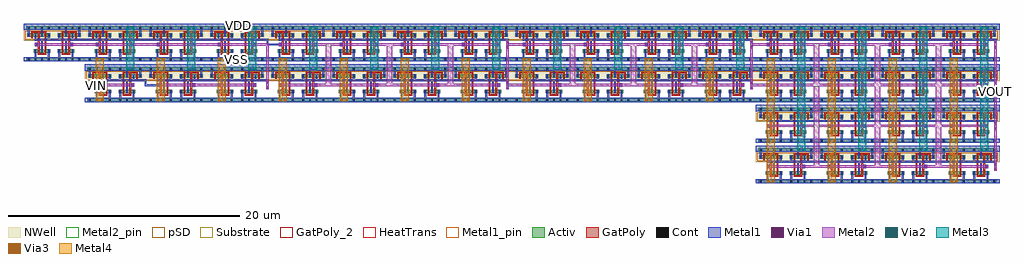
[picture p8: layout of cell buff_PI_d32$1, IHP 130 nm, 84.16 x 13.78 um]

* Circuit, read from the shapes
.subckt buff_PI_d32$1 VDD VIN VOUT VSS
XM1 buff_PI_d16$1_0/inv_PI_d16$1_0/VIN buff_PI_d16$1_0/inv_PI_d8$1_1/VIN VSS VSS sg13_lv_nmos w=0.15u l=0.13u m=16
XM2 buff_PI_d16$1_0/inv_PI_d4$1_3/VIN VIN VSS VSS sg13_lv_nmos w=0.15u l=0.13u m=4
XM3 buff_PI_d16$1_0/inv_PI_d8$1_1/VIN buff_PI_d16$1_0/inv_PI_d4$1_3/VIN VSS VSS sg13_lv_nmos w=0.15u l=0.13u m=8
XM4 inv_PI_d16$1_1/VIN buff_PI_d16$1_0/inv_PI_d16$1_0/VIN VSS VSS sg13_lv_nmos w=0.15u l=0.13u m=32
XM5 inv_PI_d32$1_2/VIN inv_PI_d16$1_1/VIN VSS VSS sg13_lv_nmos w=0.15u l=0.13u m=32
XM6 VOUT inv_PI_d32$1_2/VIN VSS VSS sg13_lv_nmos w=0.15u l=0.13u m=64
XM7 buff_PI_d16$1_0/inv_PI_d16$1_0/VIN buff_PI_d16$1_0/inv_PI_d8$1_1/VIN VDD VDD sg13_lv_pmos w=0.15u l=0.13u m=24
XM8 buff_PI_d16$1_0/inv_PI_d4$1_3/VIN VIN VDD VDD sg13_lv_pmos w=0.15u l=0.13u m=6
XM9 buff_PI_d16$1_0/inv_PI_d8$1_1/VIN buff_PI_d16$1_0/inv_PI_d4$1_3/VIN VDD VDD sg13_lv_pmos w=0.15u l=0.13u m=12
XM10 inv_PI_d16$1_1/VIN buff_PI_d16$1_0/inv_PI_d16$1_0/VIN VDD VDD sg13_lv_pmos w=0.15u l=0.13u m=48
XM11 inv_PI_d32$1_2/VIN inv_PI_d16$1_1/VIN VDD VDD sg13_lv_pmos w=0.15u l=0.13u m=48
XM12 VOUT inv_PI_d32$1_2/VIN VDD VDD sg13_lv_pmos w=0.15u l=0.13u m=96
.ends

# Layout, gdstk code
from math import pi, radians
import gdstk
lib = gdstk.Library(unit=1e-6, precision=1e-09)
def R(c, l, rs):  # rectangles x0, y0, x1, y1
    for r in rs: c.add(gdstk.rectangle(r[:2], r[2:], *l))
def A(c, l, x, y, w, h, nx, ny, dx, dy):  # array of equal rectangles
    R(c, l, [(x+i*dx, y+j*dy, x+i*dx+w, y+j*dy+h) for i in range(nx) for j in range(ny)])
Activ = (1, 0)
GatPoly = (5, 0)
GatPoly_2 = (5, 2)
Cont = (6, 0)
Metal1 = (8, 0)
Metal1_pin = (8, 2)
Metal2 = (10, 0)
Metal2_pin = (10, 2)
pSD = (14, 0)
Via1 = (19, 0)
Via2 = (29, 0)
Metal3 = (30, 0)
NWell = (31, 0)
Substrate = (40, 0)
Via3 = (49, 0)
Metal4 = (50, 0)
HeatTrans = (51, 0)

pmos_1_1_1_1 = lib.new_cell('pmos$1$1$1$1')
A(pmos_1_1_1_1, Activ, 0, 0, 0.3, 0.3, 4, 1, 0.57, 0)
R(pmos_1_1_1_1, Activ, [(0,0.075,2.01,0.225)])
A(pmos_1_1_1_1, GatPoly, 0.37, -0.105, 0.13, 0.51, 3, 1, 0.57, 0)
R(pmos_1_1_1_1, GatPoly, [(0.37,-0.105,0.5,0.405)])
A(pmos_1_1_1_1, Cont, 0.07, 0.07, 0.16, 0.16, 4, 1, 0.57, 0)
A(pmos_1_1_1_1, Metal1, 0.64, 0.02, 0.16, 0.26, 3, 1, 0.57, 0)
R(pmos_1_1_1_1, Metal1, [(0.07,0.02,0.23,0.28), (0.07,0.02,0.23,0.28), (0.64,0.02,0.8,0.28)])
R(pmos_1_1_1_1, pSD, [(-0.18,-0.225,2.19,0.525)])
R(pmos_1_1_1_1, NWell, [(-0.31,-0.31,2.32,0.61)])
R(pmos_1_1_1_1, Substrate, [(1.71,0,2.01,0.3)])
A(pmos_1_1_1_1, HeatTrans, 0.37, -0.105, 0.13, 0.51, 3, 1, 0.57, 0)
pmos_1_1_1_1.add(gdstk.Label('pmos', (0.435,0.15), layer=63, texttype=0))
pmos_1_1_1_1.add(gdstk.Label('pmos', (0.435,0.15), layer=51, texttype=0))
pmos_1_1_1_1.add(gdstk.Label('pmos', (1.005,0.15), layer=51, texttype=0))
pmos_1_1_1_1.add(gdstk.Label('pmos', (1.575,0.15), layer=51, texttype=0))

nmos_9_3_1 = lib.new_cell('nmos$9$3$1')
A(nmos_9_3_1, Activ, 0, 0, 0.3, 0.3, 3, 1, 0.57, 0)
R(nmos_9_3_1, Activ, [(0,0.075,1.44,0.225)])
R(nmos_9_3_1, GatPoly, [(0.37,-0.105,0.5,0.405), (0.94,-0.105,1.07,0.405)])
R(nmos_9_3_1, GatPoly_2, [(0.37,-0.105,0.5,0.405)])
A(nmos_9_3_1, Cont, 0.07, 0.07, 0.16, 0.16, 3, 1, 0.57, 0)
A(nmos_9_3_1, Metal1, 0.07, 0.02, 0.16, 0.26, 3, 1, 0.57, 0)
R(nmos_9_3_1, Metal1_pin, [(0.07,0.02,0.23,0.28), (0.64,0.02,0.8,0.28)])
R(nmos_9_3_1, HeatTrans, [(0.37,-0.105,0.5,0.405), (0.94,-0.105,1.07,0.405)])
nmos_9_3_1.add(gdstk.Label('nmos', (0.435,0.15), layer=63, texttype=0))
nmos_9_3_1.add(gdstk.Label('nmos', (0.435,0.15), layer=51, texttype=0))
nmos_9_3_1.add(gdstk.Label('nmos', (1.005,0.15), layer=51, texttype=0))

inv_pi_1 = lib.new_cell('inv_PI$1')
R(inv_pi_1, Activ, [(2,1.95,4.15,2.25), (2,4.645,4.15,4.945)])
R(inv_pi_1, GatPoly, [(3.01,2.48,3.71,2.61), (3.01,2.655,3.14,4.535), (3.58,2.655,3.71,4.535), (2.71,3.235,3.01,3.535), (2.44,3.93,2.57,4.535), (2.44,4.405,3.71,4.535)])
A(inv_pi_1, Cont, 2.14, 2.02, 0.16, 0.16, 4, 2, 0.57, 2.695)
R(inv_pi_1, Cont, [(2.78,3.305,2.94,3.465)])
R(inv_pi_1, Metal1, [(1.76,1.92,4.39,2.28), (2.71,1.95,2.87,2.96), (3.85,1.95,4.01,2.96), (3.28,2.7,3.44,3.875), (2.71,3.235,3.01,3.535), (2.71,3.715,4.01,3.875), (2.71,3.715,2.87,4.315), (3.85,3.715,4.01,4.315), (2.14,4.105,2.3,4.945), (3.28,4.105,3.44,4.945), (1.76,4.645,4.39,5.185)])
R(inv_pi_1, Metal1_pin, [(1.76,1.92,4.39,2.28), (2.71,3.235,3.01,3.535), (3.28,3.675,3.44,3.875), (1.76,4.645,4.39,5.185)])
R(inv_pi_1, pSD, [(1.76,1.92,4.39,2.28)])
R(inv_pi_1, NWell, [(1.76,4.645,4.39,5.185)])
inv_pi_1.add(gdstk.Reference(pmos_1_1_1_1, (2.07,4.035)))
inv_pi_1.add(gdstk.Reference(nmos_9_3_1, (2.64,2.68)))
inv_pi_1.add(gdstk.Label('VDD', (3.075,4.805), layer=8, texttype=25))
inv_pi_1.add(gdstk.Label('VOUT', (3.28,3.75), layer=8, texttype=25))
inv_pi_1.add(gdstk.Label('VIN', (2.8,3.32), layer=8, texttype=25))
inv_pi_1.add(gdstk.Label('VSS', (3.025,2.065), layer=8, texttype=25))

inv_pi_d2_1 = lib.new_cell('inv_PI_d2$1')
R(inv_pi_d2_1, Activ, [(4.15,1.95,4.63,2.25), (4.15,4.645,4.635,4.945)])
R(inv_pi_d2_1, Metal1, [(2.715,3.28,3.005,3.49), (5.775,3.28,6.065,3.49), (4.01,3.715,4.93,3.875)])
R(inv_pi_d2_1, Metal1_pin, [(1.76,1.92,7.02,2.28), (4.99,3.715,5.15,3.875), (1.76,4.645,7.02,5.185)])
R(inv_pi_d2_1, Metal2, [(2.715,3.285,6.065,3.485)])
R(inv_pi_d2_1, pSD, [(4.26,3.81,4.52,4.56)])
R(inv_pi_d2_1, Via1, [(2.765,3.29,2.955,3.48), (5.825,3.29,6.015,3.48)])
inv_pi_d2_1.add(gdstk.Reference(inv_pi_1, (0,0)))
inv_pi_d2_1.add(gdstk.Reference(inv_pi_1, (8.78,0), rotation=pi, x_reflection=True))
inv_pi_d2_1.add(gdstk.Label('VDD', (3.925,4.795), layer=8, texttype=25))
inv_pi_d2_1.add(gdstk.Label('VOUT', (5.035,3.77), layer=8, texttype=25))
inv_pi_d2_1.add(gdstk.Label('VIN', (2.86,3.385), layer=8, texttype=25))
inv_pi_d2_1.add(gdstk.Label('VSS', (3.93,2.1), layer=8, texttype=25))

inv_pi_d4_1 = lib.new_cell('inv_PI_d4$1')
R(inv_pi_d4_1, Activ, [(6.78,1.95,7.26,2.25), (6.78,4.645,7.26,4.945)])
R(inv_pi_d4_1, Metal1, [(5.91,3.715,8.13,3.875)])
R(inv_pi_d4_1, Metal1_pin, [(1.76,1.92,12.28,2.28), (1.76,4.645,12.28,5.185)])
R(inv_pi_d4_1, Metal2, [(2.715,3.285,11.325,3.485), (2.715,3.285,11.325,3.485), (2.715,3.285,11.325,3.485), (2.715,3.285,11.325,3.485)])
R(inv_pi_d4_1, pSD, [(6.89,3.81,7.15,4.56)])
inv_pi_d4_1.add(gdstk.Reference(inv_pi_d2_1, (0,0)))
inv_pi_d4_1.add(gdstk.Reference(inv_pi_d2_1, (5.26,0)))
inv_pi_d4_1.add(gdstk.Label('VSS', (6.91,2.095), layer=8, texttype=25))
inv_pi_d4_1.add(gdstk.Label('VDD', (8.92,4.755), layer=8, texttype=25))
inv_pi_d4_1.add(gdstk.Label('VOUT', (11.235,3.77), layer=8, texttype=25))
inv_pi_d4_1.add(gdstk.Label('VIN', (2.83,3.38), layer=8, texttype=25))

inv_pi_d8_1 = lib.new_cell('inv_PI_d8$1')
R(inv_pi_d8_1, Activ, [(12.04,1.95,12.52,2.25), (12.04,1.95,12.52,2.25), (12.04,1.95,12.52,2.25), (12.04,4.645,12.52,4.945), (12.04,4.645,12.52,4.945), (12.04,4.645,12.52,4.945)])
R(inv_pi_d8_1, Metal1, [(11.17,3.715,13.39,3.875), (11.17,3.715,13.39,3.875), (11.17,3.715,13.39,3.875)])
R(inv_pi_d8_1, Metal1_pin, [(1.76,1.92,22.8,2.28), (1.76,1.92,22.8,2.28), (1.76,1.92,22.8,2.28), (1.76,4.645,22.8,5.185), (1.76,4.645,22.8,5.185), (1.76,4.645,22.8,5.185)])
R(inv_pi_d8_1, Metal2, [(2.715,3.285,21.845,3.485), (2.715,3.285,21.845,3.485), (2.715,3.285,21.845,3.485)])
R(inv_pi_d8_1, pSD, [(12.15,3.81,12.41,4.56), (12.15,3.81,12.41,4.56), (12.15,3.81,12.41,4.56)])
inv_pi_d8_1.add(gdstk.Reference(inv_pi_d4_1, (0,0)))
inv_pi_d8_1.add(gdstk.Reference(inv_pi_d4_1, (10.52,0)))
inv_pi_d8_1.add(gdstk.Label('VOUT', (21.72,3.8), layer=8, texttype=25))
inv_pi_d8_1.add(gdstk.Label('VIN', (2.87,3.36), layer=8, texttype=25))
inv_pi_d8_1.add(gdstk.Label('VDD', (13.095,4.785), layer=8, texttype=25))
inv_pi_d8_1.add(gdstk.Label('VSS', (12.28,2.1), layer=8, texttype=25))
inv_pi_d8_1.add(gdstk.Label('VOUT', (21.72,3.8), layer=8, texttype=25))
inv_pi_d8_1.add(gdstk.Label('VIN', (2.87,3.36), layer=8, texttype=25))
inv_pi_d8_1.add(gdstk.Label('VDD', (13.095,4.785), layer=8, texttype=25))
inv_pi_d8_1.add(gdstk.Label('VSS', (12.28,2.1), layer=8, texttype=25))
inv_pi_d8_1.add(gdstk.Label('VOUT', (21.72,3.8), layer=8, texttype=25))
inv_pi_d8_1.add(gdstk.Label('VIN', (2.87,3.36), layer=8, texttype=25))
inv_pi_d8_1.add(gdstk.Label('VDD', (13.095,4.785), layer=8, texttype=25))
inv_pi_d8_1.add(gdstk.Label('VSS', (12.28,2.1), layer=8, texttype=25))

inv_pi_d16_1 = lib.new_cell('inv_PI_d16$1')
R(inv_pi_d16_1, Metal1, [(0.355,1.995,1.055,2.205), (0.355,1.995,1.055,2.205), (5.615,1.995,6.315,2.205), (5.615,1.995,6.315,2.205), (10.875,1.995,11.575,2.205), (10.875,1.995,11.575,2.205), (16.135,1.995,16.835,2.205), (16.135,1.995,16.835,2.205), (19.995,3.025,20.205,3.725), (19.995,3.025,20.205,3.725), (19.995,3.375,20.205,3.875), (19.995,3.375,20.205,3.875), (19.48,3.715,20.205,3.875), (19.48,3.715,20.205,3.875), (2.985,4.69,3.685,4.9), (2.985,4.69,3.685,4.9), (8.245,4.69,8.945,4.9), (8.245,4.69,8.945,4.9), (13.505,4.69,14.205,4.9), (13.505,4.69,14.205,4.9), (18.765,4.69,19.465,4.9), (18.765,4.69,19.465,4.9), (0.355,5.5,1.055,5.71), (0.355,5.5,1.055,5.71), (5.615,5.5,6.315,5.71), (5.615,5.5,6.315,5.71), (10.875,5.5,11.575,5.71), (10.875,5.5,11.575,5.71), (16.135,5.5,16.835,5.71), (16.135,5.5,16.835,5.71), (19.995,6.53,20.205,7.23), (19.995,6.53,20.205,7.23), (19.995,6.88,20.205,7.38), (19.995,6.88,20.205,7.38), (19.48,7.22,20.205,7.38), (19.48,7.22,20.205,7.38), (2.985,8.195,3.685,8.405), (2.985,8.195,3.685,8.405), (8.245,8.195,8.945,8.405), (8.245,8.195,8.945,8.405), (13.505,8.195,14.205,8.405), (13.505,8.195,14.205,8.405), (18.765,8.195,19.465,8.405), (18.765,8.195,19.465,8.405)])
R(inv_pi_d16_1, Metal1_pin, [(-0.61,5.425,20.43,5.785), (-0.61,5.425,20.43,5.785), (-0.61,8.15,20.43,8.69), (-0.61,8.15,20.43,8.69)])
R(inv_pi_d16_1, Metal2, [(0.355,1.975,1.055,2.225), (0.355,1.975,1.055,2.225), (5.615,1.975,6.315,2.225), (5.615,1.975,6.315,2.225), (10.875,1.975,11.575,2.225), (10.875,1.975,11.575,2.225), (16.135,1.975,16.835,2.225), (16.135,1.975,16.835,2.225), (19.995,3.025,20.205,3.725), (19.995,3.025,20.205,3.725), (4.42,3.285,4.875,6.99), (4.42,3.285,4.875,6.99), (9.68,3.285,10.135,6.99), (9.68,3.285,10.135,6.99), (14.94,3.285,15.395,6.99), (14.94,3.285,15.395,6.99), (19.995,3.375,20.205,6.88), (19.995,3.375,20.205,6.88), (2.985,4.67,3.685,4.92), (2.985,4.67,3.685,4.92), (8.245,4.67,8.945,4.92), (8.245,4.67,8.945,4.92), (13.505,4.67,14.205,4.92), (13.505,4.67,14.205,4.92), (18.765,4.67,19.465,4.92), (18.765,4.67,19.465,4.92), (0.355,5.48,1.055,5.73), (0.355,5.48,1.055,5.73), (5.615,5.48,6.315,5.73), (5.615,5.48,6.315,5.73), (10.875,5.48,11.575,5.73), (10.875,5.48,11.575,5.73), (16.135,5.48,16.835,5.73), (16.135,5.48,16.835,5.73), (19.995,6.53,20.205,7.23), (19.995,6.53,20.205,7.23), (2.985,8.175,3.685,8.425), (2.985,8.175,3.685,8.425), (8.245,8.175,8.945,8.425), (8.245,8.175,8.945,8.425), (13.505,8.175,14.205,8.425), (13.505,8.175,14.205,8.425), (18.765,8.175,19.465,8.425), (18.765,8.175,19.465,8.425)])
R(inv_pi_d16_1, Metal2_pin, [(19.995,3.375,20.205,6.88), (19.995,3.375,20.205,6.88), (4.42,3.725,4.875,6.99), (4.42,3.725,4.875,6.99)])
R(inv_pi_d16_1, Via1, [(0.405,2.005,0.595,2.195), (0.405,2.005,0.595,2.195), (0.815,2.005,1.005,2.195), (0.815,2.005,1.005,2.195), (5.665,2.005,5.855,2.195), (5.665,2.005,5.855,2.195), (6.075,2.005,6.265,2.195), (6.075,2.005,6.265,2.195), (10.925,2.005,11.115,2.195), (10.925,2.005,11.115,2.195), (11.335,2.005,11.525,2.195), (11.335,2.005,11.525,2.195), (16.185,2.005,16.375,2.195), (16.185,2.005,16.375,2.195), (16.595,2.005,16.785,2.195), (16.595,2.005,16.785,2.195), (20.005,3.075,20.195,3.265), (20.005,3.075,20.195,3.265), (20.005,3.485,20.195,3.675), (20.005,3.485,20.195,3.675), (3.035,4.7,3.225,4.89), (3.035,4.7,3.225,4.89), (3.445,4.7,3.635,4.89), (3.445,4.7,3.635,4.89), (8.295,4.7,8.485,4.89), (8.295,4.7,8.485,4.89), (8.705,4.7,8.895,4.89), (8.705,4.7,8.895,4.89), (13.555,4.7,13.745,4.89), (13.555,4.7,13.745,4.89), (13.965,4.7,14.155,4.89), (13.965,4.7,14.155,4.89), (18.815,4.7,19.005,4.89), (18.815,4.7,19.005,4.89), (19.225,4.7,19.415,4.89), (19.225,4.7,19.415,4.89), (0.405,5.51,0.595,5.7), (0.405,5.51,0.595,5.7), (0.815,5.51,1.005,5.7), (0.815,5.51,1.005,5.7), (5.665,5.51,5.855,5.7), (5.665,5.51,5.855,5.7), (6.075,5.51,6.265,5.7), (6.075,5.51,6.265,5.7), (10.925,5.51,11.115,5.7), (10.925,5.51,11.115,5.7), (11.335,5.51,11.525,5.7), (11.335,5.51,11.525,5.7), (16.185,5.51,16.375,5.7), (16.185,5.51,16.375,5.7), (16.595,5.51,16.785,5.7), (16.595,5.51,16.785,5.7), (20.005,6.58,20.195,6.77), (20.005,6.58,20.195,6.77), (20.005,6.99,20.195,7.18), (20.005,6.99,20.195,7.18), (3.035,8.205,3.225,8.395), (3.035,8.205,3.225,8.395), (3.445,8.205,3.635,8.395), (3.445,8.205,3.635,8.395), (8.295,8.205,8.485,8.395), (8.295,8.205,8.485,8.395), (8.705,8.205,8.895,8.395), (8.705,8.205,8.895,8.395), (13.555,8.205,13.745,8.395), (13.555,8.205,13.745,8.395), (13.965,8.205,14.155,8.395), (13.965,8.205,14.155,8.395), (18.815,8.205,19.005,8.395), (18.815,8.205,19.005,8.395), (19.225,8.205,19.415,8.395), (19.225,8.205,19.415,8.395)])
R(inv_pi_d16_1, Via2, [(0.405,2.005,0.595,2.195), (0.405,2.005,0.595,2.195), (0.815,2.005,1.005,2.195), (0.815,2.005,1.005,2.195), (5.665,2.005,5.855,2.195), (5.665,2.005,5.855,2.195), (6.075,2.005,6.265,2.195), (6.075,2.005,6.265,2.195), (10.925,2.005,11.115,2.195), (10.925,2.005,11.115,2.195), (11.335,2.005,11.525,2.195), (11.335,2.005,11.525,2.195), (16.185,2.005,16.375,2.195), (16.185,2.005,16.375,2.195), (16.595,2.005,16.785,2.195), (16.595,2.005,16.785,2.195), (3.035,4.7,3.225,4.89), (3.035,4.7,3.225,4.89), (3.445,4.7,3.635,4.89), (3.445,4.7,3.635,4.89), (8.295,4.7,8.485,4.89), (8.295,4.7,8.485,4.89), (8.705,4.7,8.895,4.89), (8.705,4.7,8.895,4.89), (13.555,4.7,13.745,4.89), (13.555,4.7,13.745,4.89), (13.965,4.7,14.155,4.89), (13.965,4.7,14.155,4.89), (18.815,4.7,19.005,4.89), (18.815,4.7,19.005,4.89), (19.225,4.7,19.415,4.89), (19.225,4.7,19.415,4.89), (0.405,5.51,0.595,5.7), (0.405,5.51,0.595,5.7), (0.815,5.51,1.005,5.7), (0.815,5.51,1.005,5.7), (5.665,5.51,5.855,5.7), (5.665,5.51,5.855,5.7), (6.075,5.51,6.265,5.7), (6.075,5.51,6.265,5.7), (10.925,5.51,11.115,5.7), (10.925,5.51,11.115,5.7), (11.335,5.51,11.525,5.7), (11.335,5.51,11.525,5.7), (16.185,5.51,16.375,5.7), (16.185,5.51,16.375,5.7), (16.595,5.51,16.785,5.7), (16.595,5.51,16.785,5.7), (3.035,8.205,3.225,8.395), (3.035,8.205,3.225,8.395), (3.445,8.205,3.635,8.395), (3.445,8.205,3.635,8.395), (8.295,8.205,8.485,8.395), (8.295,8.205,8.485,8.395), (8.705,8.205,8.895,8.395), (8.705,8.205,8.895,8.395), (13.555,8.205,13.745,8.395), (13.555,8.205,13.745,8.395), (13.965,8.205,14.155,8.395), (13.965,8.205,14.155,8.395), (18.815,8.205,19.005,8.395), (18.815,8.205,19.005,8.395), (19.225,8.205,19.415,8.395), (19.225,8.205,19.415,8.395)])
R(inv_pi_d16_1, Metal3, [(0.355,1.975,1.055,2.225), (0.355,1.975,1.055,2.225), (5.615,1.975,6.315,2.225), (5.615,1.975,6.315,2.225), (10.875,1.975,11.575,2.225), (10.875,1.975,11.575,2.225), (16.135,1.975,16.835,2.225), (16.135,1.975,16.835,2.225), (2.985,4.695,3.685,4.895), (2.985,4.695,3.685,4.895), (2.985,4.695,3.685,8.4), (2.985,4.695,3.685,8.4), (8.245,4.695,8.945,4.895), (8.245,4.695,8.945,4.895), (8.245,4.695,8.945,8.4), (8.245,4.695,8.945,8.4), (13.505,4.695,14.205,4.895), (13.505,4.695,14.205,4.895), (13.505,4.695,14.205,8.4), (13.505,4.695,14.205,8.4), (18.765,4.695,19.465,4.895), (18.765,4.695,19.465,4.895), (18.765,4.695,19.465,8.4), (18.765,4.695,19.465,8.4), (0.355,5.48,1.055,5.73), (0.355,5.48,1.055,5.73), (5.615,5.48,6.315,5.73), (5.615,5.48,6.315,5.73), (10.875,5.48,11.575,5.73), (10.875,5.48,11.575,5.73), (16.135,5.48,16.835,5.73), (16.135,5.48,16.835,5.73), (2.985,8.2,3.685,8.4), (2.985,8.2,3.685,8.4), (8.245,8.2,8.945,8.4), (8.245,8.2,8.945,8.4), (13.505,8.2,14.205,8.4), (13.505,8.2,14.205,8.4), (18.765,8.2,19.465,8.4), (18.765,8.2,19.465,8.4)])
R(inv_pi_d16_1, Via3, [(0.405,2.005,0.595,2.195), (0.405,2.005,0.595,2.195), (0.815,2.005,1.005,2.195), (0.815,2.005,1.005,2.195), (5.665,2.005,5.855,2.195), (5.665,2.005,5.855,2.195), (6.075,2.005,6.265,2.195), (6.075,2.005,6.265,2.195), (10.925,2.005,11.115,2.195), (10.925,2.005,11.115,2.195), (11.335,2.005,11.525,2.195), (11.335,2.005,11.525,2.195), (16.185,2.005,16.375,2.195), (16.185,2.005,16.375,2.195), (16.595,2.005,16.785,2.195), (16.595,2.005,16.785,2.195), (0.405,5.51,0.595,5.7), (0.405,5.51,0.595,5.7), (0.815,5.51,1.005,5.7), (0.815,5.51,1.005,5.7), (5.665,5.51,5.855,5.7), (5.665,5.51,5.855,5.7), (6.075,5.51,6.265,5.7), (6.075,5.51,6.265,5.7), (10.925,5.51,11.115,5.7), (10.925,5.51,11.115,5.7), (11.335,5.51,11.525,5.7), (11.335,5.51,11.525,5.7), (16.185,5.51,16.375,5.7), (16.185,5.51,16.375,5.7), (16.595,5.51,16.785,5.7), (16.595,5.51,16.785,5.7)])
R(inv_pi_d16_1, Metal4, [(0.355,2,1.055,5.705), (0.355,2,1.055,5.705), (0.355,2,1.055,2.2), (0.355,2,1.055,2.2), (5.615,2,6.315,5.705), (5.615,2,6.315,5.705), (5.615,2,6.315,2.2), (5.615,2,6.315,2.2), (10.875,2,11.575,5.705), (10.875,2,11.575,5.705), (10.875,2,11.575,2.2), (10.875,2,11.575,2.2), (16.135,2,16.835,5.705), (16.135,2,16.835,5.705), (16.135,2,16.835,2.2), (16.135,2,16.835,2.2), (0.355,5.505,1.055,5.705), (0.355,5.505,1.055,5.705), (5.615,5.505,6.315,5.705), (5.615,5.505,6.315,5.705), (10.875,5.505,11.575,5.705), (10.875,5.505,11.575,5.705), (16.135,5.505,16.835,5.705), (16.135,5.505,16.835,5.705)])
inv_pi_d16_1.add(gdstk.Reference(inv_pi_d8_1, (-2.37,3.505)))
inv_pi_d16_1.add(gdstk.Reference(inv_pi_d8_1, (-2.37,0)))
inv_pi_d16_1.add(gdstk.Label('VDD', (10.595,8.27), layer=8, texttype=25))
inv_pi_d16_1.add(gdstk.Label('VSS', (10.63,5.585), layer=8, texttype=25))
inv_pi_d16_1.add(gdstk.Label('VDD', (10.595,8.27), layer=8, texttype=25))
inv_pi_d16_1.add(gdstk.Label('VSS', (10.63,5.585), layer=8, texttype=25))
inv_pi_d16_1.add(gdstk.Label('VOUT', (20.115,6.005), layer=10, texttype=25))
inv_pi_d16_1.add(gdstk.Label('VIN', (4.625,6.585), layer=10, texttype=25))
inv_pi_d16_1.add(gdstk.Label('VOUT', (20.115,6.005), layer=10, texttype=25))
inv_pi_d16_1.add(gdstk.Label('VIN', (4.625,6.585), layer=10, texttype=25))

buff_pi_d16_1 = lib.new_cell('buff_PI_d16$1')
R(buff_pi_d16_1, Activ, [(11.74,1.95,12.22,2.25), (22.26,1.95,22.74,2.25), (11.74,4.645,12.22,4.945), (22.26,4.645,22.74,4.945), (22.26,5.455,22.74,5.755), (22.26,8.15,22.74,8.45)])
A(buff_pi_d16_1, Metal1, 7.685, 1.995, 0.7, 0.21, 3, 2, 5.26, 3.505)
A(buff_pi_d16_1, Metal1, 10.315, 4.69, 0.7, 0.21, 3, 2, 5.26, 3.505)
R(buff_pi_d16_1, Metal1, [(22.395,3.04,22.605,3.875), (22.395,3.04,22.605,3.74), (22.395,3.05,22.605,3.875), (11.9,3.305,12.06,3.875), (11.9,3.305,13.23,3.465), (10.87,3.715,12.06,3.875), (21.39,3.715,22.605,3.875), (22.42,6.81,22.58,7.38), (22.42,6.81,23.75,6.97), (21.39,7.22,22.58,7.38)])
R(buff_pi_d16_1, Metal1_pin, [(1.46,5.425,43.54,5.785), (1.46,8.15,43.54,8.69)])
A(buff_pi_d16_1, Metal2, 7.685, 1.995, 0.7, 0.21, 3, 2, 5.26, 3.505)
A(buff_pi_d16_1, Metal2, 10.315, 4.69, 0.7, 0.21, 3, 2, 5.26, 3.505)
R(buff_pi_d16_1, Metal2, [(22.395,3.04,22.605,6.99), (22.395,3.04,22.605,3.74), (21.25,6.79,22.605,6.99)])
R(buff_pi_d16_1, Metal2_pin, [(43.105,3.375,43.315,6.88)])
R(buff_pi_d16_1, pSD, [(11.85,3.81,12.11,4.56), (22.37,3.81,22.63,4.56), (22.37,7.315,22.63,8.065)])
R(buff_pi_d16_1, Via1, [(7.735,2.005,7.925,2.195), (8.145,2.005,8.335,2.195), (12.995,2.005,13.185,2.195), (13.405,2.005,13.595,2.195), (18.255,2.005,18.445,2.195), (18.665,2.005,18.855,2.195), (22.405,3.09,22.595,3.28), (22.405,3.5,22.595,3.69), (10.365,4.7,10.555,4.89), (10.775,4.7,10.965,4.89), (15.625,4.7,15.815,4.89), (16.035,4.7,16.225,4.89), (20.885,4.7,21.075,4.89), (21.295,4.7,21.485,4.89), (7.735,5.51,7.925,5.7), (8.145,5.51,8.335,5.7), (12.995,5.51,13.185,5.7), (13.405,5.51,13.595,5.7), (18.255,5.51,18.445,5.7), (18.665,5.51,18.855,5.7), (10.365,8.205,10.555,8.395), (10.775,8.205,10.965,8.395), (15.625,8.205,15.815,8.395), (16.035,8.205,16.225,8.395), (20.885,8.205,21.075,8.395), (21.295,8.205,21.485,8.395)])
R(buff_pi_d16_1, Via2, [(7.735,2.005,7.925,2.195), (8.145,2.005,8.335,2.195), (12.995,2.005,13.185,2.195), (13.405,2.005,13.595,2.195), (18.255,2.005,18.445,2.195), (18.665,2.005,18.855,2.195), (10.365,4.7,10.555,4.89), (10.775,4.7,10.965,4.89), (15.625,4.7,15.815,4.89), (16.035,4.7,16.225,4.89), (20.885,4.7,21.075,4.89), (21.295,4.7,21.485,4.89), (7.735,5.51,7.925,5.7), (8.145,5.51,8.335,5.7), (12.995,5.51,13.185,5.7), (13.405,5.51,13.595,5.7), (18.255,5.51,18.445,5.7), (18.665,5.51,18.855,5.7), (10.365,8.205,10.555,8.395), (10.775,8.205,10.965,8.395), (15.625,8.205,15.815,8.395), (16.035,8.205,16.225,8.395), (20.885,8.205,21.075,8.395), (21.295,8.205,21.485,8.395)])
A(buff_pi_d16_1, Metal3, 7.685, 1.995, 0.7, 0.21, 3, 2, 5.26, 3.505)
A(buff_pi_d16_1, Metal3, 10.315, 4.695, 0.7, 3.705, 3, 1, 5.26, 0)
A(buff_pi_d16_1, Metal3, 10.315, 4.695, 0.7, 0.2, 3, 2, 5.26, 3.505)
R(buff_pi_d16_1, Via3, [(7.735,2.005,7.925,2.195), (8.145,2.005,8.335,2.195), (12.995,2.005,13.185,2.195), (13.405,2.005,13.595,2.195), (18.255,2.005,18.445,2.195), (18.665,2.005,18.855,2.195), (7.735,5.51,7.925,5.7), (8.145,5.51,8.335,5.7), (12.995,5.51,13.185,5.7), (13.405,5.51,13.595,5.7), (18.255,5.51,18.445,5.7), (18.665,5.51,18.855,5.7)])
A(buff_pi_d16_1, Metal4, 7.685, 2, 0.7, 0.2, 3, 2, 5.26, 3.505)
R(buff_pi_d16_1, Metal4, [(7.685,2,8.385,5.705), (12.945,2,13.645,5.71), (18.205,2,18.905,5.705)])
buff_pi_d16_1.add(gdstk.Reference(inv_pi_d16_1, (23.11,0)))
buff_pi_d16_1.add(gdstk.Reference(inv_pi_d8_1, (-0.3,3.505)))
buff_pi_d16_1.add(gdstk.Reference(inv_pi_d2_1, (4.96,0)))
buff_pi_d16_1.add(gdstk.Reference(inv_pi_d4_1, (10.22,0)))
buff_pi_d16_1.add(gdstk.Label('VIN', (7.805,3.365), layer=8, texttype=25))
buff_pi_d16_1.add(gdstk.Label('VSS', (17.3,5.555), layer=8, texttype=25))
buff_pi_d16_1.add(gdstk.Label('VDD', (23.04,8.45), layer=8, texttype=25))
buff_pi_d16_1.add(gdstk.Label('VOUT', (43.19,6.31), layer=10, texttype=25))

inv_pi_d32_1 = lib.new_cell('inv_PI_d32$1')
R(inv_pi_d32_1, Metal1_pin, [(25.43,12.435,46.47,12.795), (25.43,15.16,46.47,15.7)])
R(inv_pi_d32_1, Metal2, [(46.035,6.88,46.245,10.035), (46.035,6.88,46.245,10.035), (46.035,6.88,46.245,10.035), (30.455,6.99,30.915,10.295), (30.455,6.99,30.915,10.295), (30.455,6.99,30.915,10.295), (35.72,6.99,36.175,10.295), (35.72,6.99,36.175,10.295), (35.72,6.99,36.175,10.295), (40.98,6.99,41.435,10.295), (40.98,6.99,41.435,10.295), (40.98,6.99,41.435,10.295)])
R(inv_pi_d32_1, Metal2_pin, [(46.035,6.88,46.245,10.385), (46.035,6.88,46.245,10.385), (46.035,6.88,46.245,10.385), (30.46,6.99,30.915,10.295), (30.46,6.99,30.915,10.295), (30.46,6.99,30.915,10.295)])
R(inv_pi_d32_1, Metal3, [(29.025,8.175,29.725,11.93), (29.025,8.175,29.725,11.93), (29.025,8.175,29.725,11.93), (34.285,8.175,34.985,11.93), (34.285,8.175,34.985,11.93), (34.285,8.175,34.985,11.93), (39.545,8.175,40.245,11.93), (39.545,8.175,40.245,11.93), (39.545,8.175,40.245,11.93), (44.805,8.175,45.505,11.93), (44.805,8.175,45.505,11.93), (44.805,8.175,45.505,11.93)])
R(inv_pi_d32_1, Metal4, [(26.395,5.48,27.095,9.235), (26.395,5.48,27.095,9.235), (26.395,5.48,27.095,9.235), (31.655,5.48,32.355,9.235), (31.655,5.48,32.355,9.235), (31.655,5.48,32.355,9.235), (36.915,5.48,37.615,9.235), (36.915,5.48,37.615,9.235), (36.915,5.48,37.615,9.235), (42.175,5.48,42.875,9.235), (42.175,5.48,42.875,9.235), (42.175,5.48,42.875,9.235)])
inv_pi_d32_1.add(gdstk.Reference(inv_pi_d16_1, (26.04,7.01)))
inv_pi_d32_1.add(gdstk.Reference(inv_pi_d16_1, (26.04,0)))
inv_pi_d32_1.add(gdstk.Label('VDD', (35.995,15.27), layer=8, texttype=25))
inv_pi_d32_1.add(gdstk.Label('VSS', (36.375,12.655), layer=8, texttype=25))
inv_pi_d32_1.add(gdstk.Label('VOUT', (46.15,9.595), layer=10, texttype=25))
inv_pi_d32_1.add(gdstk.Label('VIN', (30.765,9.87), layer=10, texttype=25))
inv_pi_d32_1.add(gdstk.Label('VOUT', (46.15,9.595), layer=10, texttype=25))
inv_pi_d32_1.add(gdstk.Label('VIN', (30.765,9.87), layer=10, texttype=25))
inv_pi_d32_1.add(gdstk.Label('VOUT', (46.15,9.595), layer=10, texttype=25))
inv_pi_d32_1.add(gdstk.Label('VIN', (30.765,9.87), layer=10, texttype=25))

buff_pi_d32_1 = lib.new_cell('buff_PI_d32$1')
R(buff_pi_d32_1, Activ, [(44.94,8.96,45.42,9.26), (65.98,8.96,66.46,9.26), (44.94,11.655,45.42,11.955), (65.98,11.655,66.46,11.955), (44.94,12.465,45.42,12.765), (65.98,12.465,66.46,12.765), (44.94,15.16,45.42,15.46), (65.98,15.16,66.46,15.46)])
R(buff_pi_d32_1, Metal1_pin, [(3.1,12.435,87.26,12.795), (3.1,15.16,87.26,15.7)])
R(buff_pi_d32_1, Metal2, [(44.745,10.295,46.425,10.495), (65.785,10.295,67.465,10.495), (44.745,13.8,46.425,14), (65.785,13.8,67.465,14)])
R(buff_pi_d32_1, Metal2_pin, [(86.825,3.025,87.035,14.24), (9.315,10.295,9.605,10.495)])
R(buff_pi_d32_1, pSD, [(45.05,10.82,45.31,11.57), (66.09,10.82,66.35,11.57), (45.05,14.325,45.31,15.075), (66.09,14.325,66.35,15.075)])
buff_pi_d32_1.add(gdstk.Reference(buff_pi_d16_1, (1.64,7.01)))
buff_pi_d32_1.add(gdstk.Reference(inv_pi_d16_1, (45.79,7.01)))
buff_pi_d32_1.add(gdstk.Reference(inv_pi_d32_1, (40.79,0)))
buff_pi_d32_1.add(gdstk.Label('VDD', (21.635,15.515), layer=8, texttype=25))
buff_pi_d32_1.add(gdstk.Label('VSS', (21.43,12.58), layer=8, texttype=25))
buff_pi_d32_1.add(gdstk.Label('VOUT', (86.92,9.845), layer=10, texttype=25))
buff_pi_d32_1.add(gdstk.Label('VIN', (9.41,10.385), layer=10, texttype=25))

lib.write_gds('buff_PI_d32_1.gds')
